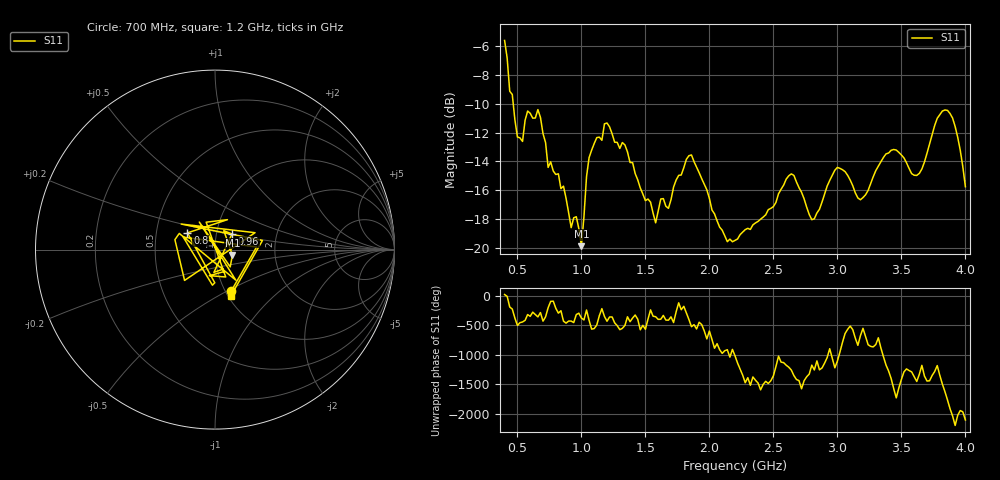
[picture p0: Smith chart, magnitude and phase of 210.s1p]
!Created with skrf (http://scikit-rf.org).
# Hz S RI R 50.0
!freq ReS11 ImS11
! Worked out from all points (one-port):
!   181 points, 400 MHz to 4 GHz, reference 50 ohm
!   lowest |S11| = -19.9 dB at 1 GHz (marker M1), VSWR 1.23, Z = 60.6 - j3.62 ohm
!   |S11| at or under -10 dB: 467.4 MHz to end of sweep
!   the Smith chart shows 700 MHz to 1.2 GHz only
!   S11 on the Smith chart (normalised r, x): 700 MHz: 1.06, -0.53; 800 MHz: 0.72, +0.14; 960 MHz: 1.19, +0.21; 1.2 GHz: 1.04, -0.57
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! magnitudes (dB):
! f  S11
! 400 MHz  -5.6
! 500 MHz  -12.3
! 660 MHz  -10.4
! 700 MHz  -12.1
! 740 MHz  -14.4
! 800 MHz  -14.9
! 860 MHz  -15.7
! 920 MHz  -18.6
! 960 MHz  -17.8
! 1 GHz  -19.9
! 1.06 GHz  -13.7
! 1.2 GHz  -11.3
! 1.3 GHz  -13.1
! 1.58 GHz  -18.3
! 1.76 GHz  -15.0
! 1.86 GHz  -13.6
! 2.08 GHz  -18.6
! 2.2 GHz  -19.5
! 2.66 GHz  -15.0
! 2.8 GHz  -18.0
! 3 GHz  -14.4
! 3.1 GHz  -15.3
! 3.18 GHz  -16.7
! 3.44 GHz  -13.2
! 3.56 GHz  -14.5
! 3.64 GHz  -14.8
! 3.86 GHz  -10.5
! 4 GHz  -15.8
